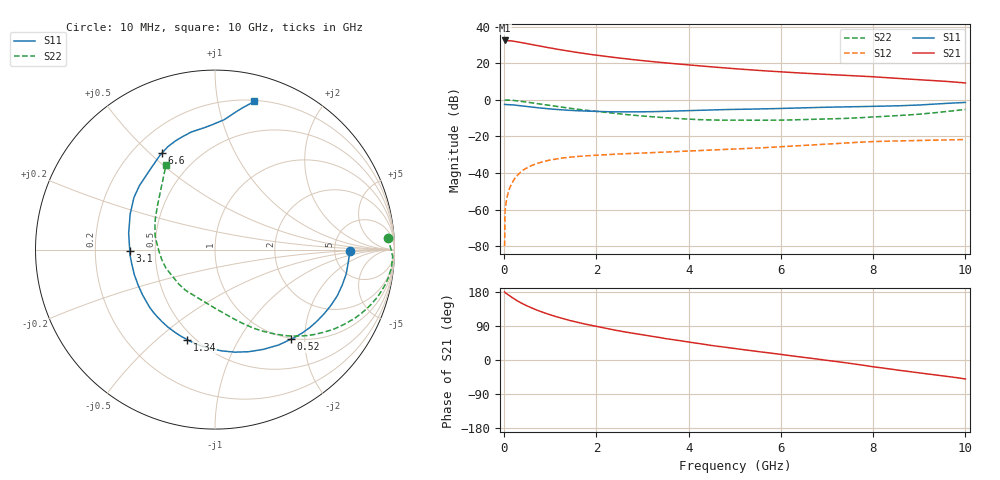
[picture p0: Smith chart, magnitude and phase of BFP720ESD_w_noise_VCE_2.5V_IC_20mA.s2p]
! Infineon Technologies  Discrete & RF Semiconductors
! BFP720ESD
! VCE =  2.5 V,  IC =  20 mA
! Common Emitter S-Parameters:  Jan 2016
# GHz  S  MA  R  50
!  f  S11  S21  S12  S22
! GHz  MAG  ANG  MAG  ANG  MAG  ANG  MAG  ANG
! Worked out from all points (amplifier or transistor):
!   233 points, 10 MHz to 10 GHz, reference 50 ohm
!   highest |S21| = 32.5 dB at 10 MHz (marker M1)
!   |S21| within 3 dB of that: start of sweep to 755.3 MHz
!   unconditionally stable (mu >= 1): start of sweep to 13 MHz; 4.447 GHz to 6.977 GHz
!   at 200 MHz: K = 0.13, MSG = 38.1 dB, |S12| = -44.2 dB
!   at 1.74 GHz: K = 0.57, MSG = 28.0 dB, |S12| = -30.7 dB
!   at 10 GHz: K = 0.69, MSG = 15.5 dB, |S12| = -21.7 dB
!   lowest NFmin = 0.95 dB at 450 MHz
!   S11 on the Smith chart (normalised r, x): 10 MHz: 7.12, -0.35; 520 MHz: 0.98, -1.72; 1.34 GHz: 0.46, -0.63; 3.1 GHz: 0.36, -0.01; 6.6 GHz: 0.32, +0.55; 10 GHz: 0.21, +1.28
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0.01  0.7543 -0.8  42.26 179.7  0.0001 -172.1  0.9636 4.0
0.02  0.7493 -1.8  42.1 177.8  0.0009 89.8  0.9811 0.0
0.1  0.7434 -10.6  41.88 171.2  0.0033 85.1  0.9893 -5.6
0.15  0.7358 -15.7  41.23 166.7  0.0047 81.7  0.9807 -8.7
0.24  0.7191 -24.6  39.59 159.4  0.0074 77.2  0.9567 -13.8
0.38  0.6877 -37.6  36.84 149.7  0.0112 70.9  0.9105 -20.8
0.52  0.6545 -49.7  34.05 141.4  0.0144 65.3  0.8608 -26.9
0.7  0.6172 -64.3  30.87 132.1  0.0181 59.2  0.7976 -33.7
0.9  0.5819 -79.1  27.73 123.2  0.0214 53.5  0.7315 -40.2
1.1  0.5527 -92.5  24.99 115.4  0.0239 48.9  0.6707 -45.9
1.34  0.5257 -107.0  22.2 107.0  0.0264 44.4  0.608 -51.7
1.68  0.5005 -124.5  19.05 96.9  0.0289 39.8  0.5374 -58.5
1.92  0.4887 -135.5  17.24 90.5  0.0304 37.5  0.4973 -62.8
2.4  0.4719 -155.0  14.43 78.9  0.0328 34.0  0.4288 -70.8
3.1  0.4749 -179.2  11.53 64.5  0.0357 31.4  0.3544 -82.9
3.4  0.4841 172.1  10.58 58.7  0.037 30.7  0.3321 -88.4
4  0.5127 157.2  9.06 47.2  0.04 29.7  0.2978 -101.2
5.1  0.5537 138.3  6.976 28.7  0.0461 27.3  0.2788 -127.9
6.6  0.6137 118.9  5.293 5.4  0.0576 23.4  0.2935 -161.5
6.8  0.6219 116.7  5.128 2.3  0.0596 22.5  0.2969 -165.5
8.4  0.6824 94.8  3.975 -24.4  0.0749 9.2  0.3637 156.9
10  0.8544 75.1  2.91 -50.0  0.0826 -3.5  0.5467 119.9
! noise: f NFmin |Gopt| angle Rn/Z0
0.45  0.95  0.04  -8  0.11
0.9  0.97  0.03  -30  0.12
1.9  0.99  0.04  -77  0.14
2.4  1  0.06  -94  0.15
5.5  1.16  0.21  -108  0.13
10  1.52  0.52  -86  0.45
